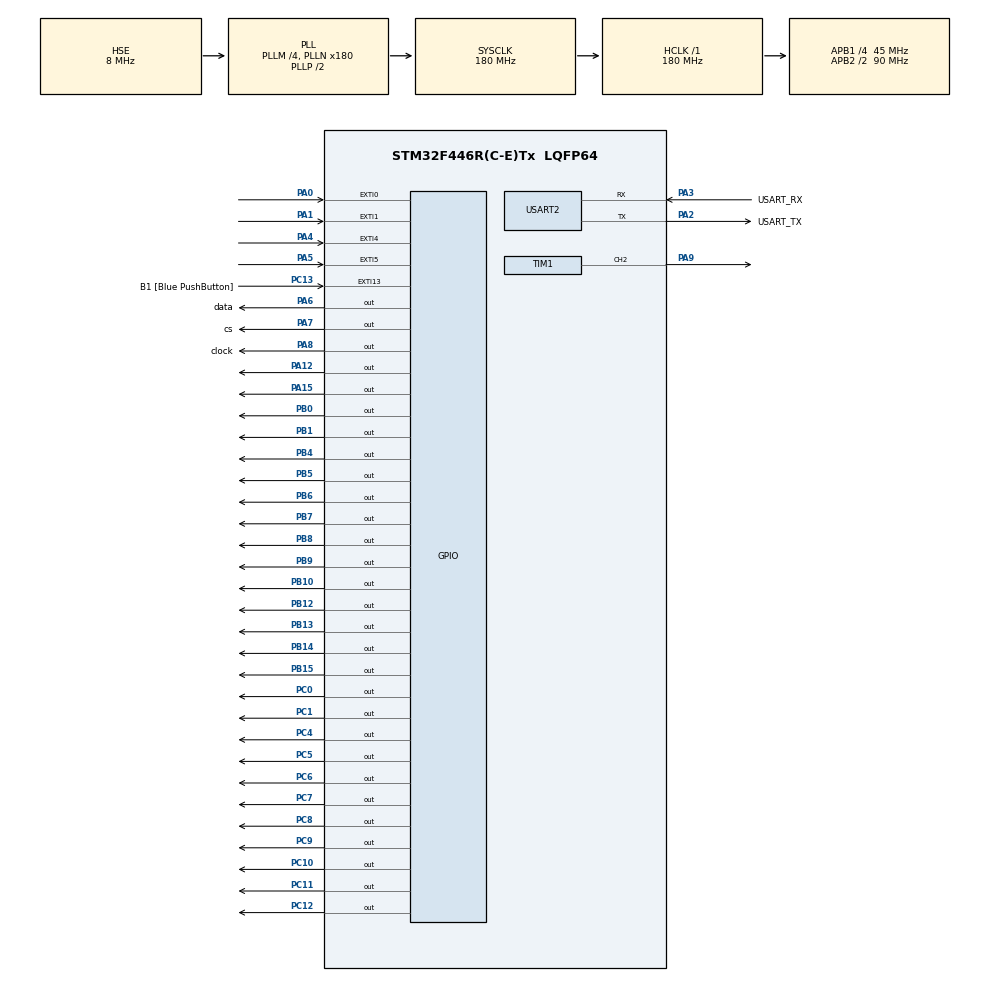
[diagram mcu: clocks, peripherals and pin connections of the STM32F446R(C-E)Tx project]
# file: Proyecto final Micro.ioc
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Mcu.Family=STM32F4
Mcu.Name=STM32F446R(C-E)Tx
Mcu.Package=LQFP64
NVIC.EXTI0_IRQn=true\:0\:0\:false\:false\:true\:true\:true
NVIC.EXTI15_10_IRQn=true\:0\:0\:false\:false\:true\:true\:true
NVIC.EXTI1_IRQn=true\:0\:0\:false\:false\:true\:true\:true
NVIC.EXTI4_IRQn=true\:0\:0\:false\:false\:true\:true\:true
NVIC.EXTI9_5_IRQn=true\:0\:0\:false\:false\:true\:true\:true
NVIC.PriorityGroup=NVIC_PRIORITYGROUP_0
NVIC.TIM1_BRK_TIM9_IRQn=true\:0\:0\:false\:false\:true\:true\:true
NVIC.TIM1_CC_IRQn=true\:0\:0\:false\:false\:true\:true\:true
NVIC.TIM1_TRG_COM_TIM11_IRQn=true\:0\:0\:false\:false\:true\:true\:true
NVIC.TIM1_UP_TIM10_IRQn=true\:0\:0\:false\:false\:true\:true\:true
PA0-WKUP.GPIO_ModeDefaultEXTI=GPIO_MODE_IT_RISING_FALLING
PA0-WKUP.GPIO_PuPd=GPIO_PULLDOWN
PA0-WKUP.Signal=GPXTI0
PA1.GPIO_ModeDefaultEXTI=GPIO_MODE_IT_RISING_FALLING
PA1.GPIO_PuPd=GPIO_PULLDOWN
PA1.Signal=GPXTI1
PA12.Signal=GPIO_Output
PA13.GPIO_Label=TMS
PA13.Mode=Serial_Wire
PA13.Signal=SYS_JTMS-SWDIO
PA14.GPIO_Label=TCK
PA14.Mode=Serial_Wire
PA14.Signal=SYS_JTCK-SWCLK
PA15.Signal=GPIO_Output
PA2.GPIO_Label=USART_TX
PA2.Mode=Asynchronous
PA2.Signal=USART2_TX
PA3.GPIO_Label=USART_RX
PA3.Mode=Asynchronous
PA3.Signal=USART2_RX
PA4.GPIO_ModeDefaultEXTI=GPIO_MODE_IT_RISING_FALLING
PA4.GPIO_PuPd=GPIO_PULLDOWN
PA4.Signal=GPXTI4
PA5.GPIO_ModeDefaultEXTI=GPIO_MODE_IT_RISING_FALLING
PA5.GPIO_PuPd=GPIO_PULLDOWN
PA5.Signal=GPXTI5
PA6.GPIO_Label=data
PA6.Signal=GPIO_Output
PA7.GPIO_Label=cs
PA7.Signal=GPIO_Output
PA8.GPIO_Label=clock
PA8.Signal=GPIO_Output
PA9.Signal=S_TIM1_CH2
PB0.Signal=GPIO_Output
PB1.Signal=GPIO_Output
PB10.Signal=GPIO_Output
PB12.Signal=GPIO_Output
PB13.Signal=GPIO_Output
PB14.Signal=GPIO_Output
PB15.Signal=GPIO_Output
PB3.GPIO_Label=SWO
PB3.Signal=SYS_JTDO-SWO
PB4.Signal=GPIO_Output
PB5.Signal=GPIO_Output
PB6.Signal=GPIO_Output
PB7.Signal=GPIO_Output
PB8.Signal=GPIO_Output
PB9.Signal=GPIO_Output
PC0.Signal=GPIO_Output
PC1.Signal=GPIO_Output
PC10.Signal=GPIO_Output
PC11.Signal=GPIO_Output
PC12.Signal=GPIO_Output
PC13.GPIO_Label=B1 [Blue PushButton]
PC13.GPIO_ModeDefaultEXTI=GPIO_MODE_IT_FALLING
PC13.Signal=GPXTI13
PC14-OSC32_IN.Mode=LSE-External-Oscillator
PC14-OSC32_IN.Signal=RCC_OSC32_IN
PC15-OSC32_OUT.Mode=LSE-External-Oscillator
PC15-OSC32_OUT.Signal=RCC_OSC32_OUT
PC4.Signal=GPIO_Output
PC5.Signal=GPIO_Output
PC6.Signal=GPIO_Output
PC7.Signal=GPIO_Output
PC8.Signal=GPIO_Output
PC9.Signal=GPIO_Output
PH0-OSC_IN.Mode=HSE-External-Oscillator
PH0-OSC_IN.Signal=RCC_OSC_IN
PH1-OSC_OUT.Mode=HSE-External-Oscillator
PH1-OSC_OUT.Signal=RCC_OSC_OUT
ProjectManager.HeapSize=0x200
ProjectManager.StackSize=0x400
ProjectManager.TargetToolchain=STM32CubeIDE
RCC.48MHZClocksFreq_Value=84000000
RCC.AHBFreq_Value=180000000
RCC.APB1CLKDivider=RCC_HCLK_DIV4
RCC.APB1Freq_Value=45000000
RCC.APB1TimFreq_Value=90000000
RCC.APB2CLKDivider=RCC_HCLK_DIV2
RCC.APB2Freq_Value=90000000
RCC.APB2TimFreq_Value=180000000
RCC.CortexFreq_Value=180000000
RCC.FLatency-AdvancedSettings=FLASH_LATENCY_5
RCC.HCLKFreq_Value=180000000
RCC.HSE_VALUE=8000000
RCC.HSI_VALUE=16000000
RCC.PLLM=4
RCC.PLLN=180
RCC.PLLSourceVirtual=RCC_PLLSOURCE_HSE
RCC.SYSCLKFreq_VALUE=180000000
RCC.SYSCLKSource=RCC_SYSCLKSOURCE_PLLCLK
RCC.USBFreq_Value=180000000
RCC.VCOOutputFreq_Value=360000000
SH.S_TIM1_CH2.0=TIM1_CH2,PWM Generation2 CH2
TIM1.Channel-PWM\ Generation2\ CH2=TIM_CHANNEL_2
TIM1.Period=1000-1
TIM1.Prescaler=1800
TIM2.Prescaler=180-1
USART2.VirtualMode=VM_ASYNC
VP_TIM1_VS_ClockSourceINT.Mode=Internal
VP_TIM2_VS_ClockSourceINT.Mode=Internal
board=NUCLEO-F446RE

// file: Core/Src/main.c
/* USER CODE BEGIN Header */
/**
  ******************************************************************************
  * @file           : main.c
  * @brief          : Main program body
  ******************************************************************************
  * @attention
  *
  * <h2><center>&copy; Copyright (c) 2021 STMicroelectronics.
  * All rights reserved.</center></h2>
  *
  * This software component is licensed by ST under BSD 3-Clause license,
  * the "License"; You may not use this file except in compliance with the
  * License. You may obtain a copy of the License at:
  *                        opensource.org/licenses/BSD-3-Clause
  *
  ******************************************************************************
  */
/* USER CODE END Header */
#include "main.h"

/* USER CODE BEGIN Includes */
#include "LCD1602.h"
#include "max_matrix_stm32.h"
#include <stdio.h>
#include <stdlib.h>

/* USER CODE END Includes */

TIM_HandleTypeDef htim1;
TIM_HandleTypeDef htim2;

UART_HandleTypeDef huart2;

/* USER CODE BEGIN PV */
int press = 0;
int key = 0;
int op = 0;
int num1 = 0;
int num2 = 0;
int num3 = 0;

char string1[20];
char string2[20];
char string3[20];
char string4[20];
char string5[20];
char string6[20];
char string7[20];
char string8[20];

int add = 0;
int total = 0;
int dinero = 0;

int m1 = 0;
int m2 = 0;
int m3 = 0;
int m4 = 0;
/* USER CODE END PV */

void SystemClock_Config(void);
static void MX_GPIO_Init(void);
static void MX_USART2_UART_Init(void);
static void MX_TIM2_Init(void);
static void MX_TIM1_Init(void);

/* USER CODE BEGIN 0 */

//ESTA PARTE CORRESPONDE A LAS FUNCIONES DEL STEPPER MOTOR

void stepper_stop() //ESTE VOID PERMITE QUE EL MOTOR SE DETENGA
	{
	  HAL_GPIO_WritePin(GPIOC, GPIO_PIN_9, GPIO_PIN_RESET);   //IN1
	  HAL_GPIO_WritePin(GPIOC, GPIO_PIN_10, GPIO_PIN_RESET);  //IN2
	  HAL_GPIO_WritePin(GPIOC, GPIO_PIN_11, GPIO_PIN_RESET);  //IN3
	  HAL_GPIO_WritePin(GPIOC, GPIO_PIN_12, GPIO_PIN_RESET);  //IN4
	  HAL_Delay(1);
	}

void stepper_pines_iz()//ESTE VOID SON LOS PINES DE MOVIMIENTO A LA IZQUIERDA DEL STEPPER MOTOR
	{
	  HAL_GPIO_WritePin(GPIOC, GPIO_PIN_9, GPIO_PIN_SET);   //IN1
	  HAL_GPIO_WritePin(GPIOC, GPIO_PIN_10, GPIO_PIN_SET);  //IN2
	  HAL_GPIO_WritePin(GPIOC, GPIO_PIN_11, GPIO_PIN_RESET);  //IN3
	  HAL_GPIO_WritePin(GPIOC, GPIO_PIN_12, GPIO_PIN_RESET);  //IN4
	  HAL_Delay(5);

	  HAL_GPIO_WritePin(GPIOC, GPIO_PIN_9, GPIO_PIN_RESET);   //IN1
	  HAL_GPIO_WritePin(GPIOC, GPIO_PIN_10, GPIO_PIN_SET);  //IN2
	  HAL_GPIO_WritePin(GPIOC, GPIO_PIN_11, GPIO_PIN_SET);  //IN3
	  HAL_GPIO_WritePin(GPIOC, GPIO_PIN_12, GPIO_PIN_RESET);  //IN4
	  HAL_Delay(5);

	  HAL_GPIO_WritePin(GPIOC, GPIO_PIN_9, GPIO_PIN_RESET);   //IN1
	  HAL_GPIO_WritePin(GPIOC, GPIO_PIN_10, GPIO_PIN_RESET);  //IN2
	  HAL_GPIO_WritePin(GPIOC, GPIO_PIN_11, GPIO_PIN_SET);  //IN3
	  HAL_GPIO_WritePin(GPIOC, GPIO_PIN_12, GPIO_PIN_SET);  //IN4
	  HAL_Delay(5);

	  HAL_GPIO_WritePin(GPIOC, GPIO_PIN_9, GPIO_PIN_SET);   //IN1
	  HAL_GPIO_WritePin(GPIOC, GPIO_PIN_10, GPIO_PIN_RESET);  //IN2
	  HAL_GPIO_WritePin(GPIOC, GPIO_PIN_11, GPIO_PIN_RESET);  //IN3
	  HAL_GPIO_WritePin(GPIOC, GPIO_PIN_12, GPIO_PIN_SET);  //IN4
	  HAL_Delay(5);
	}

void stepper_pines_der() //ESTE VOID SON LOS PINES DE MOVIMIENTO A LA DERECHA DEL STEPPER MOTOR
	{
	  HAL_GPIO_WritePin(GPIOC, GPIO_PIN_9, GPIO_PIN_SET);   //IN1
	  HAL_GPIO_WritePin(GPIOC, GPIO_PIN_10, GPIO_PIN_RESET);  //IN2
	  HAL_GPIO_WritePin(GPIOC, GPIO_PIN_11, GPIO_PIN_RESET);  //IN3
	  HAL_GPIO_WritePin(GPIOC, GPIO_PIN_12, GPIO_PIN_SET);  //IN4
	  HAL_Delay(5);

	  HAL_GPIO_WritePin(GPIOC, GPIO_PIN_9, GPIO_PIN_RESET);   //IN1
	  HAL_GPIO_WritePin(GPIOC, GPIO_PIN_10, GPIO_PIN_RESET);  //IN2
	  HAL_GPIO_WritePin(GPIOC, GPIO_PIN_11, GPIO_PIN_SET);  //IN3
	  HAL_GPIO_WritePin(GPIOC, GPIO_PIN_12, GPIO_PIN_SET);  //IN4
	  HAL_Delay(5);

	  HAL_GPIO_WritePin(GPIOC, GPIO_PIN_9, GPIO_PIN_RESET);   //IN1
	  HAL_GPIO_WritePin(GPIOC, GPIO_PIN_10, GPIO_PIN_SET);  //IN2
	  HAL_GPIO_WritePin(GPIOC, GPIO_PIN_11, GPIO_PIN_SET);  //IN3
	  HAL_GPIO_WritePin(GPIOC, GPIO_PIN_12, GPIO_PIN_RESET);  //IN4
	  HAL_Delay(5);

	  HAL_GPIO_WritePin(GPIOC, GPIO_PIN_9, GPIO_PIN_SET);   //IN1
	  HAL_GPIO_WritePin(GPIOC, GPIO_PIN_10, GPIO_PIN_SET);  //IN2
	  HAL_GPIO_WritePin(GPIOC, GPIO_PIN_11, GPIO_PIN_RESET);  //IN3
	  HAL_GPIO_WritePin(GPIOC, GPIO_PIN_12, GPIO_PIN_RESET);  //IN4
	  HAL_Delay(5);
	}

void pineskey()	//ESTE VOID SON LOS PINES DE SALIDA DEL KEYPAD
	{
	  HAL_GPIO_WritePin(GPIOB, GPIO_PIN_0, GPIO_PIN_SET);
	  	  HAL_Delay(1);
	  HAL_GPIO_WritePin(GPIOB, GPIO_PIN_0, GPIO_PIN_RESET);

	  HAL_GPIO_WritePin(GPIOB, GPIO_PIN_1, GPIO_PIN_SET);
	 	  HAL_Delay(1);
	  HAL_GPIO_WritePin(GPIOB, GPIO_PIN_1, GPIO_PIN_RESET);

	  HAL_GPIO_WritePin(GPIOB, GPIO_PIN_4, GPIO_PIN_SET);
	  	  HAL_Delay(1);
	  HAL_GPIO_WritePin(GPIOB, GPIO_PIN_4, GPIO_PIN_RESET);

	  HAL_GPIO_WritePin(GPIOB, GPIO_PIN_5, GPIO_PIN_SET);
	  	  HAL_Delay(1);
	  HAL_GPIO_WritePin(GPIOB, GPIO_PIN_5, GPIO_PIN_RESET);
	}

void HAL_GPIO_EXTI_Callback (uint16_t GPIO_Pin) //ESTA FUNCION SON LAS SALIDAS DEL KEYPAD
{

	if(HAL_GPIO_ReadPin(GPIOA, GPIO_PIN_0))
		{
		press++;
		if(HAL_GPIO_ReadPin(GPIOB, GPIO_PIN_0))
		{
			key = 1;
		}

		if(HAL_GPIO_ReadPin(GPIOB, GPIO_PIN_1))
		{
			key = 4;
		}

		if(HAL_GPIO_ReadPin(GPIOB, GPIO_PIN_4))
		{
			key = 7;
		}

		if(HAL_GPIO_ReadPin(GPIOB, GPIO_PIN_5))
		{
			key = 10;
		}
	}

	if(HAL_GPIO_ReadPin(GPIOA, GPIO_PIN_1))
		{
		press++;
		if(HAL_GPIO_ReadPin(GPIOB, GPIO_PIN_0))
		{
			key = 2;
		}
		if(HAL_GPIO_ReadPin(GPIOB, GPIO_PIN_1))
		{
			key = 5;
		}
		if(HAL_GPIO_ReadPin(GPIOB, GPIO_PIN_4))
		{
			key = 8;
		}
		if(HAL_GPIO_ReadPin(GPIOB, GPIO_PIN_5))
		{
			key = 0;
		}

	}

	if(HAL_GPIO_ReadPin(GPIOA, GPIO_PIN_4))
		{
		if(HAL_GPIO_ReadPin(GPIOB, GPIO_PIN_0))
		{
			key = 3;
		}

		if(HAL_GPIO_ReadPin(GPIOB, GPIO_PIN_1))
		{
			key = 6;
		}

		if(HAL_GPIO_ReadPin(GPIOB, GPIO_PIN_4))
		{
			key = 9;
		}

		if(HAL_GPIO_ReadPin(GPIOB, GPIO_PIN_5))
		{
			add = 1;
		}
	}

	if(HAL_GPIO_ReadPin(GPIOA, GPIO_PIN_5))
		{
		if(HAL_GPIO_ReadPin(GPIOB, GPIO_PIN_0))
		{
			op = 1;
		}
		if(HAL_GPIO_ReadPin(GPIOB, GPIO_PIN_1))
		{
			op = 2;
		}
		if(HAL_GPIO_ReadPin(GPIOB, GPIO_PIN_4))
		{
			op = 3;
		}
		if(HAL_GPIO_ReadPin(GPIOB, GPIO_PIN_5))
		{
			op = 4;

		}

	}

}

void org() //ESTE VOID PERMITE QUE EL MOTOR SE POSICIONE Y MUESTRE ORGANIZANDO EN LA PANTALLA

	{
	stepper_pines_iz();
		HAL_GPIO_TogglePin(GPIOB, GPIO_PIN_13);
		HAL_GPIO_TogglePin(GPIOB, GPIO_PIN_14);
	lcd_clear();
	lcd_put_cur(0, 0);
	lcd_send_string("Organizando...");
	write_char (24 ,1);
	}
		  //TAMBIEN ACTIVA EL LED ROJO Y EL BUZZER

void intro() //ESTE VOID MUESTRA EL MENSAJE INTRODUZCA LA MONEDA EN EL LCD
	{
	HAL_GPIO_WritePin(GPIOB, GPIO_PIN_15, GPIO_PIN_SET);
		lcd_clear();
		lcd_put_cur(0, 0);
		lcd_send_string("Introduzca la");
		lcd_put_cur(1, 4);
		lcd_send_string("moneda");
			HAL_Delay(6000);
	HAL_GPIO_WritePin(GPIOB, GPIO_PIN_15, GPIO_PIN_RESET);
	}

/* USER CODE END 0 */

int main(void)
{

  /* MCU Configuration--------------------------------------------------------*/

  /* Reset of all peripherals, Initializes the Flash interface and the Systick. */
  HAL_Init();

  /* Configure the system clock */
  SystemClock_Config();

  /* Initialize all configured peripherals */
  MX_GPIO_Init();
  MX_USART2_UART_Init();
  MX_TIM2_Init();
  MX_TIM1_Init();
  /* USER CODE BEGIN 2 */
  HAL_TIM_PWM_Start(&htim1, TIM_CHANNEL_2);
  HAL_TIM_Base_Start(&htim2);

  max_init (0x03);
  lcd_init ();

  lcd_send_string ("Proyecto Final");
  write_char ('$' ,1);

  HAL_Delay(3000);

  max_clear();
  lcd_clear();

/* USER CODE END 2 */

/* Infinite loop */
/* USER CODE BEGIN WHILE */
while (1)
{

	  pineskey();
	  HAL_Delay(100);

	itoa(total,string3,10);
	itoa(dinero,string4,10);

	switch(op)
	{
	case 0:  //ESTA PARTE DEL SWITCH PERMITE SELECCIONAR LA OPCION EN EL LCD CON EL KEYPAD

		  max_clear();
		  lcd_clear();
		  lcd_put_cur(0, 0);
		  lcd_send_string("A. Introducir");
		  lcd_put_cur(1, 2);
		  lcd_send_string(" moneda");
		  HAL_Delay(1000);

		  lcd_clear();
		  lcd_put_cur(0, 0);
		  lcd_send_string("B. Ver cantidad ");
		  lcd_put_cur(1, 2);
		  lcd_send_string("  total");
		  HAL_Delay(1000);

		  lcd_clear();
		  lcd_put_cur(0, 0);
		  lcd_send_string("C. Dinero total ");
		  HAL_Delay(1000);

		  lcd_clear();
		  lcd_put_cur(0, 0);
		  lcd_send_string("D. Mantenimiento");
		  HAL_Delay(1000);
		  break;

	case 1:
		//ESTA PARTE PERMITE SABER CUANTAS MONEDAS HAY DE CADA TIPO Y PERMITE HACER GIRAR EL MOTOR

				//PARA QUE EL PROGRAMA SE POSICIONE EN EL REGLON DE 1 PESO
					if(num1 == 1 && add == 1 && num3 == 0)
						{
						m1++;
						total++;
						}

				//PARA QUE EL PROGRAMA SE POSICIONE EN EL REGLON DE 5 PESOS
					if(num1 == 5 && add ==1)
						{
						for(int ciclo=0; ciclo<110; ciclo++)
							{
							org();
							}

							intro();

						for(int ciclo=0; ciclo<110; ciclo++)
								  		{
										stepper_pines_der();
										write_char (25 ,1);
								  		}
						max_clear();
						m2++;
						total++;
						}

				//PARA QUE EL PROGRAMA SE POSICIONE EN EL REGLON DE 10 PESOS
				  if(num3 == 10 && add ==1)
						{
				  	for(int ciclo=0; ciclo<220; ciclo++)
				  		{
				  		org();
				  		}
				  	intro();

				  		for(int ciclo=0; ciclo<220; ciclo++)
				  				  		{
				  						stepper_pines_der();
				  						write_char (25 ,1);
				  				  		}

						m3++;
						total++;
						}

				//PARA QUE EL PROGRAMA SE POSICIONE EN EL REGLON DE 25 PESOS
				  if(num3 == 25 && add ==1)
						{
				  	for(int ciclo=0; ciclo<360; ciclo++)
							{
							org();
							}

							intro();

				  		for(int ciclo=0; ciclo<360; ciclo++)
				  				  		{
				  						stepper_pines_der();
				  						write_char (25 ,1);
				  				  		}
						m4++;
						total++;
						}

				  	break;

	case 2:  //ESTA PARTE MUESTRA LA CANTIDAD DE MONEDAS EN EL LCD

		if(add == 0)
			{
		  pineskey();
		  lcd_clear();
		  lcd_put_cur(0, 0);
		  lcd_send_string("monedas total:");
		  lcd_send_string(string3);
		  HAL_Delay(2000);

		  pineskey();
		  lcd_clear();
		  lcd_put_cur(0, 0);
		  lcd_send_string("monedas de 1: ");
		  lcd_send_string(string5);
		  HAL_Delay(2000);

		  pineskey();
		  lcd_clear();
		  lcd_put_cur(0, 0);
		  lcd_send_string("monedas de 5: ");
		  lcd_send_string(string6);
		  HAL_Delay(2000);

		  pineskey();
		  lcd_clear();
		  lcd_put_cur(0, 0);
		  lcd_send_string("monedas de 10: ");
		  lcd_send_string(string7);
		  HAL_Delay(2000);

		  pineskey();
		  lcd_clear();
		  lcd_put_cur(0, 0);
		  lcd_send_string("monedas de 25: ");
		  lcd_send_string(string8);
		  HAL_Delay(1000);
			}
		  break;

	case 3: //ESTA PARTE MUESTRA LA CANTIAD DE DINERO EN EL LCD

		if(add == 0)
			{
		  lcd_clear();
		  lcd_put_cur(0, 0);
		  lcd_send_string("Dinero total: ");
		  lcd_put_cur(1, 2);
		  lcd_send_string(string4);
		  lcd_send_string(" pesos");
		  HAL_Delay(1000);
			}
		  break;

	case 4: //ESTA PARTE HACE GIRAR EL STEPPER MOTOR Y ENCIENDE EL VENTILADOR

		if(add == 0)
			{

			  htim1.Instance->CCR2 = 50;  // duty cycle is 1.5 ms
			  HAL_Delay(1000);
			  htim1.Instance->CCR2 = 125;  // duty cycle is .5 ms
			  HAL_Delay(1000);
			  htim1.Instance->CCR2 = 175;  // duty cycle is 2.5 ms
			  HAL_Delay(1000);
			  htim1.Instance->CCR2 = 100;  // duty cycle is .5 ms
			  HAL_Delay(1000);

		HAL_GPIO_WritePin(GPIOA, GPIO_PIN_15, GPIO_PIN_SET);
		lcd_clear();
		lcd_put_cur(0, 0);
		lcd_send_string("Mantenimiento...");
		HAL_Delay(1000);
			}
	}

	  itoa(num1,string1,10);
	  itoa(num3,string2,10);

//ESTA PARTE MUESTRA EN LA PANTALLA EL MENSAJE  INGRESE EL VALOR
	  if(op == 1 && press == 0)
	 	  {
	 			  lcd_clear();
	 			  lcd_put_cur(0, 0);
	 			  lcd_send_string("Ingrese el valor:");
	 			  HAL_Delay(1000);
	 	  }

	  if(op == 1 && press == 1)
	 	  {
		  	  	  //ESTA PARTE PERMITE INTRODUCIR LOS NUMEROS CON EL KEYPAD
		  	  	  num1 = key;

	 			  lcd_clear();
	 			  lcd_put_cur(0, 0);
	 			  lcd_send_string("Ingrese el valor:");
	 			  lcd_put_cur(1, 4);
	 			  lcd_send_string(string1);
	 			  lcd_send_string(" pesos");
	 			  HAL_Delay(1000);
	 	  }

	  if(op == 1 && press >=2)
	 	 	  {

		  	  	  //ESTA PARTE PERMITE INTRODUCIR LOS NUMEROS CON EL KEYPAD
		  	  	  	  num2 = key;
		  			  num3 = num1 * 10 + num2 ;

		  	  	  	  lcd_clear();
	 	 			  lcd_put_cur(0, 0);
	 	 			  lcd_send_string("Ingrese el valor:");
	 	 			  lcd_put_cur(1, 4);
	 	 			  lcd_send_string(string2);
	 	 			  lcd_send_string(" pesos");
	 	 			  HAL_Delay(1000);
	 	 	  }

//ESTA PARTE PERMITE OBTENER LA SUMA TOTAL DEL DINERO
	if(num1 <= 5 && num3 == 0 && add == 1)
		{
		dinero = dinero + num1;
		}

	if(num3 > 0 && add == 1)
		{
		dinero = dinero + num3;
		}

	itoa(m1,string5,10);
	itoa(m2,string6,10);
	itoa(m3,string7,10);
	itoa(m4,string8,10);

//ESTA PARTE PERMITE REGRESAR EL PROGRAMA AL MENU PRINCIPAL
	if(add == 1)
		{
		key = 0;
		press = 0;
		op = 0;
		num1 = 0;
		num2 = 0;
		num3 = 0;
		add = 0;
		}

	  	  }
/* USER CODE END 3 */
		}

/* USER CODE END WHILE */
void SystemClock_Config(void)
{
  RCC_OscInitTypeDef RCC_OscInitStruct = {0};
  RCC_ClkInitTypeDef RCC_ClkInitStruct = {0};

  /** Configure the main internal regulator output voltage
  */
  __HAL_RCC_PWR_CLK_ENABLE();
  __HAL_PWR_VOLTAGESCALING_CONFIG(PWR_REGULATOR_VOLTAGE_SCALE1);
  /** Initializes the RCC Oscillators according to the specified parameters
  * in the RCC_OscInitTypeDef structure.
  */
  RCC_OscInitStruct.OscillatorType = RCC_OSCILLATORTYPE_HSE;
  RCC_OscInitStruct.HSEState = RCC_HSE_ON;
  RCC_OscInitStruct.PLL.PLLState = RCC_PLL_ON;
  RCC_OscInitStruct.PLL.PLLSource = RCC_PLLSOURCE_HSE;
  RCC_OscInitStruct.PLL.PLLM = 4;
  RCC_OscInitStruct.PLL.PLLN = 180;
  RCC_OscInitStruct.PLL.PLLP = RCC_PLLP_DIV2;
  RCC_OscInitStruct.PLL.PLLQ = 2;
  RCC_OscInitStruct.PLL.PLLR = 2;
  if (HAL_RCC_OscConfig(&RCC_OscInitStruct) != HAL_OK)
  {
    Error_Handler();
  }
  /** Activate the Over-Drive mode
  */
  if (HAL_PWREx_EnableOverDrive() != HAL_OK)
  {
    Error_Handler();
  }
  /** Initializes the CPU, AHB and APB buses clocks
  */
  RCC_ClkInitStruct.ClockType = RCC_CLOCKTYPE_HCLK|RCC_CLOCKTYPE_SYSCLK
                              |RCC_CLOCKTYPE_PCLK1|RCC_CLOCKTYPE_PCLK2;
  RCC_ClkInitStruct.SYSCLKSource = RCC_SYSCLKSOURCE_PLLCLK;
  RCC_ClkInitStruct.AHBCLKDivider = RCC_SYSCLK_DIV1;
  RCC_ClkInitStruct.APB1CLKDivider = RCC_HCLK_DIV4;
  RCC_ClkInitStruct.APB2CLKDivider = RCC_HCLK_DIV2;

  if (HAL_RCC_ClockConfig(&RCC_ClkInitStruct, FLASH_LATENCY_5) != HAL_OK)
  {
    Error_Handler();
  }
}

static void MX_TIM1_Init(void)
{

  TIM_ClockConfigTypeDef sClockSourceConfig = {0};
  TIM_MasterConfigTypeDef sMasterConfig = {0};
  TIM_OC_InitTypeDef sConfigOC = {0};
  TIM_BreakDeadTimeConfigTypeDef sBreakDeadTimeConfig = {0};

  htim1.Instance = TIM1;
  htim1.Init.Prescaler = 1800;
  htim1.Init.CounterMode = TIM_COUNTERMODE_UP;
  htim1.Init.Period = 1000-1;
  htim1.Init.ClockDivision = TIM_CLOCKDIVISION_DIV1;
  htim1.Init.RepetitionCounter = 0;
  htim1.Init.AutoReloadPreload = TIM_AUTORELOAD_PRELOAD_DISABLE;
  if (HAL_TIM_Base_Init(&htim1) != HAL_OK)
  {
    Error_Handler();
  }
  sClockSourceConfig.ClockSource = TIM_CLOCKSOURCE_INTERNAL;
  if (HAL_TIM_ConfigClockSource(&htim1, &sClockSourceConfig) != HAL_OK)
  {
    Error_Handler();
  }
  if (HAL_TIM_PWM_Init(&htim1) != HAL_OK)
  {
    Error_Handler();
  }
  sMasterConfig.MasterOutputTrigger = TIM_TRGO_RESET;
  sMasterConfig.MasterSlaveMode = TIM_MASTERSLAVEMODE_DISABLE;
  if (HAL_TIMEx_MasterConfigSynchronization(&htim1, &sMasterConfig) != HAL_OK)
  {
    Error_Handler();
  }
  sConfigOC.OCMode = TIM_OCMODE_PWM1;
  sConfigOC.Pulse = 0;
  sConfigOC.OCPolarity = TIM_OCPOLARITY_HIGH;
  sConfigOC.OCNPolarity = TIM_OCNPOLARITY_HIGH;
  sConfigOC.OCFastMode = TIM_OCFAST_DISABLE;
  sConfigOC.OCIdleState = TIM_OCIDLESTATE_RESET;
  sConfigOC.OCNIdleState = TIM_OCNIDLESTATE_RESET;
  if (HAL_TIM_PWM_ConfigChannel(&htim1, &sConfigOC, TIM_CHANNEL_2) != HAL_OK)
  {
    Error_Handler();
  }
  sBreakDeadTimeConfig.OffStateRunMode = TIM_OSSR_DISABLE;
  sBreakDeadTimeConfig.OffStateIDLEMode = TIM_OSSI_DISABLE;
  sBreakDeadTimeConfig.LockLevel = TIM_LOCKLEVEL_OFF;
  sBreakDeadTimeConfig.DeadTime = 0;
  sBreakDeadTimeConfig.BreakState = TIM_BREAK_DISABLE;
  sBreakDeadTimeConfig.BreakPolarity = TIM_BREAKPOLARITY_HIGH;
  sBreakDeadTimeConfig.AutomaticOutput = TIM_AUTOMATICOUTPUT_DISABLE;
  if (HAL_TIMEx_ConfigBreakDeadTime(&htim1, &sBreakDeadTimeConfig) != HAL_OK)
  {
    Error_Handler();
  }
  HAL_TIM_MspPostInit(&htim1);

}

static void MX_TIM2_Init(void)
{

  TIM_ClockConfigTypeDef sClockSourceConfig = {0};
  TIM_MasterConfigTypeDef sMasterConfig = {0};

  htim2.Instance = TIM2;
  htim2.Init.Prescaler = 180-1;
  htim2.Init.CounterMode = TIM_COUNTERMODE_UP;
  htim2.Init.Period = 4294967295;
  htim2.Init.ClockDivision = TIM_CLOCKDIVISION_DIV1;
  htim2.Init.AutoReloadPreload = TIM_AUTORELOAD_PRELOAD_DISABLE;
  if (HAL_TIM_Base_Init(&htim2) != HAL_OK)
  {
    Error_Handler();
  }
  sClockSourceConfig.ClockSource = TIM_CLOCKSOURCE_INTERNAL;
  if (HAL_TIM_ConfigClockSource(&htim2, &sClockSourceConfig) != HAL_OK)
  {
    Error_Handler();
  }
  sMasterConfig.MasterOutputTrigger = TIM_TRGO_RESET;
  sMasterConfig.MasterSlaveMode = TIM_MASTERSLAVEMODE_DISABLE;
  if (HAL_TIMEx_MasterConfigSynchronization(&htim2, &sMasterConfig) != HAL_OK)
  {
    Error_Handler();
  }

}

static void MX_USART2_UART_Init(void)
{

  huart2.Instance = USART2;
  huart2.Init.BaudRate = 115200;
  huart2.Init.WordLength = UART_WORDLENGTH_8B;
  huart2.Init.StopBits = UART_STOPBITS_1;
  huart2.Init.Parity = UART_PARITY_NONE;
  huart2.Init.Mode = UART_MODE_TX_RX;
  huart2.Init.HwFlowCtl = UART_HWCONTROL_NONE;
  huart2.Init.OverSampling = UART_OVERSAMPLING_16;
  if (HAL_UART_Init(&huart2) != HAL_OK)
  {
    Error_Handler();
  }

}

static void MX_GPIO_Init(void)
{
  GPIO_InitTypeDef GPIO_InitStruct = {0};

  /* GPIO Ports Clock Enable */
  __HAL_RCC_GPIOC_CLK_ENABLE();
  __HAL_RCC_GPIOH_CLK_ENABLE();
  __HAL_RCC_GPIOA_CLK_ENABLE();
  __HAL_RCC_GPIOB_CLK_ENABLE();

  /*Configure GPIO pin Output Level */
  HAL_GPIO_WritePin(GPIOC, GPIO_PIN_0|GPIO_PIN_1|GPIO_PIN_4|GPIO_PIN_5
                          |GPIO_PIN_6|GPIO_PIN_7|GPIO_PIN_8|GPIO_PIN_9
                          |GPIO_PIN_10|GPIO_PIN_11|GPIO_PIN_12, GPIO_PIN_RESET);

  /*Configure GPIO pin Output Level */
  HAL_GPIO_WritePin(GPIOA, data_Pin|cs_Pin|clock_Pin|GPIO_PIN_12
                          |GPIO_PIN_15, GPIO_PIN_RESET);

  /*Configure GPIO pin Output Level */
  HAL_GPIO_WritePin(GPIOB, GPIO_PIN_0|GPIO_PIN_1|GPIO_PIN_10|GPIO_PIN_12
                          |GPIO_PIN_13|GPIO_PIN_14|GPIO_PIN_15|GPIO_PIN_4
                          |GPIO_PIN_5|GPIO_PIN_6|GPIO_PIN_7|GPIO_PIN_8
                          |GPIO_PIN_9, GPIO_PIN_RESET);

  /*Configure GPIO pin : B1_Pin */
  GPIO_InitStruct.Pin = B1_Pin;
  GPIO_InitStruct.Mode = GPIO_MODE_IT_FALLING;
  GPIO_InitStruct.Pull = GPIO_NOPULL;
  HAL_GPIO_Init(B1_GPIO_Port, &GPIO_InitStruct);

  /*Configure GPIO pins : PC0 PC1 PC4 PC5
                           PC6 PC7 PC8 PC9
                           PC10 PC11 PC12 */
  GPIO_InitStruct.Pin = GPIO_PIN_0|GPIO_PIN_1|GPIO_PIN_4|GPIO_PIN_5
                          |GPIO_PIN_6|GPIO_PIN_7|GPIO_PIN_8|GPIO_PIN_9
                          |GPIO_PIN_10|GPIO_PIN_11|GPIO_PIN_12;
  GPIO_InitStruct.Mode = GPIO_MODE_OUTPUT_PP;
  GPIO_InitStruct.Pull = GPIO_NOPULL;
  GPIO_InitStruct.Speed = GPIO_SPEED_FREQ_LOW;
  HAL_GPIO_Init(GPIOC, &GPIO_InitStruct);

  /*Configure GPIO pins : PA0 PA1 PA4 PA5 */
  GPIO_InitStruct.Pin = GPIO_PIN_0|GPIO_PIN_1|GPIO_PIN_4|GPIO_PIN_5;
  GPIO_InitStruct.Mode = GPIO_MODE_IT_RISING_FALLING;
  GPIO_InitStruct.Pull = GPIO_PULLDOWN;
  HAL_GPIO_Init(GPIOA, &GPIO_InitStruct);

  /*Configure GPIO pins : data_Pin cs_Pin clock_Pin PA12
                           PA15 */
  GPIO_InitStruct.Pin = data_Pin|cs_Pin|clock_Pin|GPIO_PIN_12
                          |GPIO_PIN_15;
  GPIO_InitStruct.Mode = GPIO_MODE_OUTPUT_PP;
  GPIO_InitStruct.Pull = GPIO_NOPULL;
  GPIO_InitStruct.Speed = GPIO_SPEED_FREQ_LOW;
  HAL_GPIO_Init(GPIOA, &GPIO_InitStruct);

  /*Configure GPIO pins : PB0 PB1 PB10 PB12
                           PB13 PB14 PB15 PB4
                           PB5 PB6 PB7 PB8
                           PB9 */
  GPIO_InitStruct.Pin = GPIO_PIN_0|GPIO_PIN_1|GPIO_PIN_10|GPIO_PIN_12
                          |GPIO_PIN_13|GPIO_PIN_14|GPIO_PIN_15|GPIO_PIN_4
                          |GPIO_PIN_5|GPIO_PIN_6|GPIO_PIN_7|GPIO_PIN_8
                          |GPIO_PIN_9;
  GPIO_InitStruct.Mode = GPIO_MODE_OUTPUT_PP;
  GPIO_InitStruct.Pull = GPIO_NOPULL;
  GPIO_InitStruct.Speed = GPIO_SPEED_FREQ_LOW;
  HAL_GPIO_Init(GPIOB, &GPIO_InitStruct);

  /* EXTI interrupt init*/
  HAL_NVIC_SetPriority(EXTI0_IRQn, 0, 0);
  HAL_NVIC_EnableIRQ(EXTI0_IRQn);

  HAL_NVIC_SetPriority(EXTI1_IRQn, 0, 0);
  HAL_NVIC_EnableIRQ(EXTI1_IRQn);

  HAL_NVIC_SetPriority(EXTI4_IRQn, 0, 0);
  HAL_NVIC_EnableIRQ(EXTI4_IRQn);

  HAL_NVIC_SetPriority(EXTI9_5_IRQn, 0, 0);
  HAL_NVIC_EnableIRQ(EXTI9_5_IRQn);

  HAL_NVIC_SetPriority(EXTI15_10_IRQn, 0, 0);
  HAL_NVIC_EnableIRQ(EXTI15_10_IRQn);

}

void Error_Handler(void)
{
  __disable_irq();
  while (1)
  {
  }
}

/************************ (C) COPYRIGHT STMicroelectronics *****END OF FILE****/
